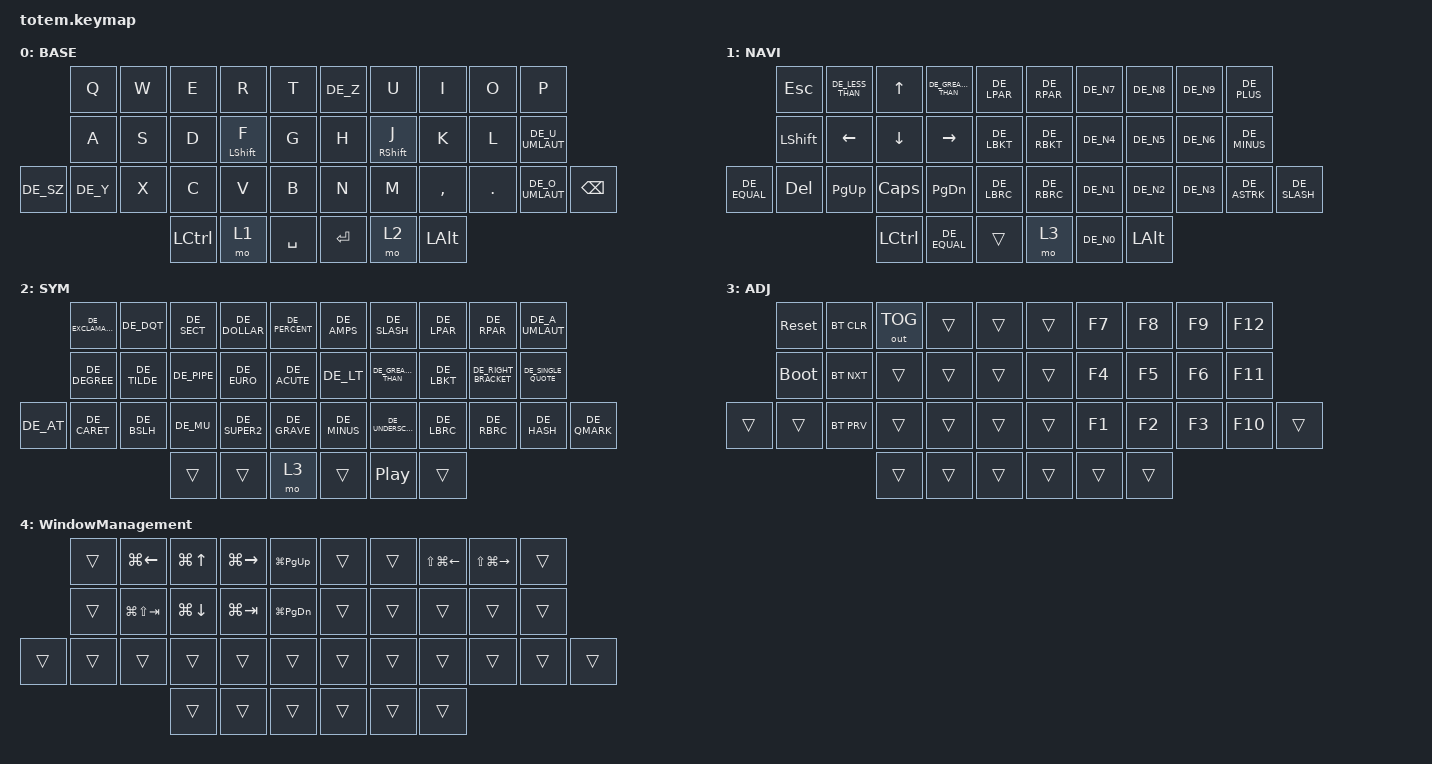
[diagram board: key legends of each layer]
//
//                                                        ▀▀▀▀▀     ▀▀▀▀▀          ▀▀█▀▀
//                                                        ▄▀▀▀▄  ▄  ▄▀▀▀▄  ▄  ▄▀▀▀▄  █  ▄▀▀▀▄
//                                                        █   █  █  █   █  █  █   █  █  █   █
//                                                         ▀▀▀   █   ▀▀▀   █   ▀▀▀   ▀   ▀▀▀
//                                                               █      ▄▄▄█▄▄▄    █   █  
//                                                               ▀      █  █  █     █▄█
//                                                             ▀▀▀▀▀    █  █  █      ▀
//                                                                      ▀  ▀  ▀
//
// ▄▄▄▄▄▄▄▄▄▄▄▄▄▄▄▄▄▄▄▄▄▄▄▄▄▄▄▄▄▄▄▄▄▄▄▄▄▄▄▄▄▄▄▄▄▄▄▄▄▄▄▄▄▄▄▄▄▄▄▄▄▄▄▄▄▄▄▄▄▄▄▄▄▄▄▄▄▄▄▄▄▄▄▄▄▄▄▄▄▄▄▄▄▄▄▄▄▄▄▄▄▄▄▄▄▄▄▄▄▄▄▄▄▄▄▄▄▄▄▄▄▄▄▄▄▄▄▄▄▄▄▄▄▄▄▄▄▄▄▄▄▄▄▄▄▄▄▄▄

#include <behaviors.dtsi>
#include <dt-bindings/zmk/bt.h>
#include <dt-bindings/zmk/keys.h>
#include <dt-bindings/zmk/outputs.h>
#include "keys_de.h"

#define BASE 0
#define NAV  1
#define SYM  2
#define ADJ  3
#define TVP1 4
#define TVP2 5

&mt {
    quick-tap-ms = <100>;
    global-quick-tap;
    flavor = "tap-preferred";
    tapping-term-ms = <170>;
};

/ {
    combos {
        compatible = "zmk,combos";

        combo_esc {
            timeout-ms = <50>;
            key-positions = <0 10>;
            bindings = <&kp ESC>;
        };

        combo_tab {
            bindings = <&kp TAB>;
            key-positions = <21 10>;
        };

        combo_windowManagement {
            bindings = <&mo 4>;
            key-positions = <33 36>;
        };
    };

    behaviors {
        hmr: hmr {
            compatible = "zmk,behavior-hold-tap";
            label = "HMR";
            bindings = <&kp>, <&kp>;

            #binding-cells = <2>;
            tapping-term-ms = <200>;
            quick-tap-ms = <175>;
            flavor = "tap-preferred";
            hold-trigger-key-positions = <0 1 2 3 4 10 11 12 13 14 20 21 22 23 24 25 32 33 34 35 36 37>;
            hold-trigger-on-release;
            require-prior-idle-ms = <150>;
        };

        hml: hml {
            compatible = "zmk,behavior-hold-tap";
            label = "HML";
            bindings = <&kp>, <&kp>;

            #binding-cells = <2>;
            tapping-term-ms = <200>;
            quick-tap-ms = <175>;
            flavor = "tap-preferred";
            hold-trigger-key-positions = <5 6 7 8 9 15 16 17 18 19 26 27 28 29 30 31 35 36 37 34 33 32>;
            hold-trigger-on-release;
            require-prior-idle-ms = <150>;
        };
    };

    keymap {
        compatible = "zmk,keymap";

        // ▄▄▄▄▄▄▄▄▄▄▄▄▄▄▄▄▄▄▄▄▄▄▄▄▄▄▄▄▄▄▄▄▄▄▄▄▄▄▄▄▄▄▄▄▄▄▄▄▄▄▄▄▄▄▄▄▄▄▄▄▄▄▄▄▄▄▄▄▄▄▄▄▄▄▄▄▄▄▄▄▄▄▄▄▄▄▄▄▄▄▄▄▄▄▄▄▄▄▄▄▄▄▄▄▄▄▄▄▄▄▄▄▄▄▄▄▄▄▄▄▄▄▄▄▄▄▄▄▄▄▄▄▄▄▄▄▄▄▄▄▄▄▄▄▄▄▄▄▄

        base_layer {
            // ┏━━━━━━━━━━━━━━━━━━━━━━━━━━━━━━━━━━━━━━━┓

            label = "BASE";

            // ┗━━━━━━━━━━━━━━━━━━━━━━━━━━━━━━━━━━━━━━━┛
            //             ┏━━━━━━━━━━━┳━━━━━━━━━━━┳━━━━━━━━━━━┳━━━━━━━━━━━┳━━━━━━━━━━━┓   ┏━━━━━━━━━━━┳━━━━━━━━━━━┳━━━━━━━━━━━┳━━━━━━━━━━━┳━━━━━━━━━━━┓
            //             ┃     Q     ┃     W     ┃     E     ┃     R     ┃     T     ┃   ┃     Z     ┃     U     ┃     I     ┃     O     ┃     P     ┃
            //             ┣━━━━━━━━━━━╋━━━━━━━━━━━╋━━━━━━━━━━━╋━━━━━━━━━━━╋━━━━━━━━━━━┫   ┣━━━━━━━━━━━╋━━━━━━━━━━━╋━━━━━━━━━━━╋━━━━━━━━━━━╋━━━━━━━━━━━┫
            //             ┃     A     ┃     S     ┃     D     ┃     F     ┃     G     ┃   ┃     H     ┃     J     ┃     K     ┃     L     ┃     Ö     ┃
            // ┏━━━━━━━━━━━╋━━━━━━━━━━━╋━━━━━━━━━━━╋━━━━━━━━━━━╋━━━━━━━━━━━╋━━━━━━━━━━━┫   ┣━━━━━━━━━━━╋━━━━━━━━━━━╋━━━━━━━━━━━╋━━━━━━━━━━━╋━━━━━━━━━━━╋━━━━━━━━━━━┓
            // ┃     Q     ┃     Y     ┃     X     ┃     C     ┃     V     ┃     B     ┃   ┃     N     ┃     M     ┃     ,     ┃     .     ┃     /     ┃     \     ┃
            // ┗━━━━━━━━━━━┻━━━━━━━━━━━┻━━━━━━━━━━━╋━━━━━━━━━━━╋━━━━━━━━━━━╋━━━━━━━━━━━┫   ┣━━━━━━━━━━━╋━━━━━━━━━━━╋━━━━━━━━━━━╋━━━━━━━━━━━┻━━━━━━━━━━━┻━━━━━━━━━━━┛
            //                                     ┃    DEL    ┃    TAB    ┃    SPC    ┃   ┃   ENTER   ┃           ┃   BSPC    ┃
            //                                     ┗━━━━━━━━━━━┻━━━━━━━━━━━┻━━━━━━━━━━━┛   ┗━━━━━━━━━━━┻━━━━━━━━━━━┻━━━━━━━━━━━┛

            bindings = <
           &kp Q     &kp W  &kp E      &kp R         &kp T        &kp DE_Z  &kp U         &kp I      &kp O    &kp P
           &kp A     &kp S  &kp D      &hml LSHFT F  &kp G        &kp H     &hmr RSHFT J  &kp K      &kp L    &kp DE_U_UMLAUT
&kp DE_SZ  &kp DE_Y  &kp X  &kp C      &kp V         &kp B        &kp N     &kp M         &kp COMMA  &kp DOT  &kp DE_O_UMLAUT  &kp BACKSPACE
                            &kp LCTRL  &mo 1         &kp SPACE    &kp RET   &mo 2         &kp LALT
            >;
        };

        // ▄▄▄▄▄▄▄▄▄▄▄▄▄▄▄▄▄▄▄▄▄▄▄▄▄▄▄▄▄▄▄▄▄▄▄▄▄▄▄▄▄▄▄▄▄▄▄▄▄▄▄▄▄▄▄▄▄▄▄▄▄▄▄▄▄▄▄▄▄▄▄▄▄▄▄▄▄▄▄▄▄▄▄▄▄▄▄▄▄▄▄▄▄▄▄▄▄▄▄▄▄▄▄▄▄▄▄▄▄▄▄▄▄▄▄▄▄▄▄▄▄▄▄▄▄▄▄▄▄▄▄▄▄▄▄▄▄▄▄▄▄▄▄▄▄▄▄▄▄

        nav_layer {
            // ┏━━━━━━━━━━━━━━━━━━━━━━━━━━━━━━━━━━━━━━━┓

            label = "NAVI";

            // ┗━━━━━━━━━━━━━━━━━━━━━━━━━━━━━━━━━━━━━━━┛
            //             ┏━━━━━━━━━━━┳━━━━━━━━━━━┳━━━━━━━━━━━┳━━━━━━━━━━━┳━━━━━━━━━━━┓   ┏━━━━━━━━━━━┳━━━━━━━━━━━┳━━━━━━━━━━━┳━━━━━━━━━━━┳━━━━━━━━━━━┓
            //             ┃           ┃           ┃     UP    ┃           ┃     {     ┃   ┃     }     ┃     7     ┃     8     ┃     9     ┃     +     ┃
            //             ┣━━━━━━━━━━━╋━━━━━━━━━━━╋━━━━━━━━━━━╋━━━━━━━━━━━╋━━━━━━━━━━━┫   ┣━━━━━━━━━━━╋━━━━━━━━━━━╋━━━━━━━━━━━╋━━━━━━━━━━━╋━━━━━━━━━━━┫
            //             ┃   SHIFT   ┃   LEFT    ┃    DOWN   ┃   RIGHT   ┃     [     ┃   ┃     ]     ┃     4     ┃     5     ┃     6     ┃     -     ┃
            // ┏━━━━━━━━━━━╋━━━━━━━━━━━╋━━━━━━━━━━━╋━━━━━━━━━━━╋━━━━━━━━━━━╋━━━━━━━━━━━┫   ┣━━━━━━━━━━━╋━━━━━━━━━━━╋━━━━━━━━━━━╋━━━━━━━━━━━╋━━━━━━━━━━━╋━━━━━━━━━━━┓
            // ┃           ┃           ┃   P UP    ┃  C LOCK   ┃  P DOWN   ┃     (     ┃   ┃     )     ┃     1     ┃     2     ┃     3     ┃     *     ┃           ┃
            // ┗━━━━━━━━━━━┻━━━━━━━━━━━┻━━━━━━━━━━━╋━━━━━━━━━━━╋━━━━━━━━━━━╋━━━━━━━━━━━┫   ┣━━━━━━━━━━━╋━━━━━━━━━━━╋━━━━━━━━━━━╋━━━━━━━━━━━┻━━━━━━━━━━━┻━━━━━━━━━━━┛
            //                                     ┃           ┃    TAB    ┃    SPC    ┃   ┃    DEL    ┃     0     ┃           ┃
            //                                     ┗━━━━━━━━━━━┻━━━━━━━━━━━┻━━━━━━━━━━━┛   ┗━━━━━━━━━━━┻━━━━━━━━━━━┻━━━━━━━━━━━┛

            bindings = <
              &kp ESC    &kp DE_LESS_THAN  &kp UP     &kp DE_GREATER_THAN  &kp DE_LPAR    &kp DE_RPAR  &kp DE_N7  &kp DE_N8     &kp DE_N9  &kp DE_PLUS
              &kp LSHFT  &kp LEFT          &kp DOWN   &kp RIGHT            &kp DE_LBKT    &kp DE_RBKT  &kp DE_N4  &kp DE_N5     &kp DE_N6  &kp DE_MINUS
&kp DE_EQUAL  &kp DEL    &kp PG_UP         &kp CAPS   &kp PG_DN            &kp DE_LBRC    &kp DE_RBRC  &kp DE_N1  &kp DE_N2     &kp DE_N3  &kp DE_ASTRK  &kp DE_SLASH
                                           &kp LCTRL  &kp DE_EQUAL         &trans         &mo 3        &kp DE_N0  &kp LEFT_ALT
            >;
        };

        // ▄▄▄▄▄▄▄▄▄▄▄▄▄▄▄▄▄▄▄▄▄▄▄▄▄▄▄▄▄▄▄▄▄▄▄▄▄▄▄▄▄▄▄▄▄▄▄▄▄▄▄▄▄▄▄▄▄▄▄▄▄▄▄▄▄▄▄▄▄▄▄▄▄▄▄▄▄▄▄▄▄▄▄▄▄▄▄▄▄▄▄▄▄▄▄▄▄▄▄▄▄▄▄▄▄▄▄▄▄▄▄▄▄▄▄▄▄▄▄▄▄▄▄▄▄▄▄▄▄▄▄▄▄▄▄▄▄▄▄▄▄▄▄▄▄▄▄▄▄

        sim_layer {
            // ┏━━━━━━━━━━━━━━━━━━━━━━━━━━━━━━━━━━━━━━━┓

            label = "SYM";

            // ┗━━━━━━━━━━━━━━━━━━━━━━━━━━━━━━━━━━━━━━━┛
            //             ┏━━━━━━━━━━━┳━━━━━━━━━━━┳━━━━━━━━━━━┳━━━━━━━━━━━┳━━━━━━━━━━━┓   ┏━━━━━━━━━━━┳━━━━━━━━━━━┳━━━━━━━━━━━┳━━━━━━━━━━━┳━━━━━━━━━━━┓
            //             ┃     !     ┃     @     ┃     #     ┃     $     ┃     %     ┃   ┃     ˆ     ┃     &     ┃     Ü     ┃     '     ┃     "     ┃
            //             ┣━━━━━━━━━━━╋━━━━━━━━━━━╋━━━━━━━━━━━╋━━━━━━━━━━━╋━━━━━━━━━━━┫   ┣━━━━━━━━━━━╋━━━━━━━━━━━╋━━━━━━━━━━━╋━━━━━━━━━━━╋━━━━━━━━━━━┫
            //             ┃     Ä     ┃           ┃    SZ     ┃           ┃           ┃   ┃   MUTE    ┃   YEN     ┃   EURO    ┃  POUND    ┃     Ö     ┃
            // ┏━━━━━━━━━━━╋━━━━━━━━━━━╋━━━━━━━━━━━╋━━━━━━━━━━━╋━━━━━━━━━━━╋━━━━━━━━━━━┫   ┣━━━━━━━━━━━╋━━━━━━━━━━━╋━━━━━━━━━━━╋━━━━━━━━━━━╋━━━━━━━━━━━╋━━━━━━━━━━━┓
            // ┃           ┃  EMAIL1   ┃  EMAIL2   ┃           ┃           ┃           ┃   ┃   VOL-    ┃   VOL+    ┃   LAST    ┃   NEXT    ┃     \     ┃           ┃
            // ┗━━━━━━━━━━━┻━━━━━━━━━━━┻━━━━━━━━━━━╋━━━━━━━━━━━╋━━━━━━━━━━━╋━━━━━━━━━━━┫   ┣━━━━━━━━━━━╋━━━━━━━━━━━╋━━━━━━━━━━━╋━━━━━━━━━━━┻━━━━━━━━━━━┻━━━━━━━━━━━┛
            //                                     ┃           ┃    GIF    ┃    ADJ    ┃   ┃           ┃           ┃           ┃
            //                                     ┗━━━━━━━━━━━┻━━━━━━━━━━━┻━━━━━━━━━━━┛   ┗━━━━━━━━━━━┻━━━━━━━━━━━┻━━━━━━━━━━━┛

            bindings = <
           &kp DE_EXCLAMATION  &kp DE_DQT    &kp DE_SECT  &kp DE_DOLLAR  &kp DE_PERCENT    &kp DE_AMPS   &kp DE_SLASH         &kp DE_LPAR  &kp DE_RPAR           &kp DE_A_UMLAUT
           &kp DE_DEGREE       &kp DE_TILDE  &kp DE_PIPE  &kp DE_EURO    &kp DE_ACUTE      &kp DE_LT     &kp DE_GREATER_THAN  &kp DE_LBKT  &kp DE_RIGHT_BRACKET  &kp DE_SINGLE_QUOTE
&kp DE_AT  &kp DE_CARET        &kp DE_BSLH   &kp DE_MU    &kp DE_SUPER2  &kp DE_GRAVE      &kp DE_MINUS  &kp DE_UNDERSCORE    &kp DE_LBRC  &kp DE_RBRC           &kp DE_HASH          &kp DE_QMARK
                                             &trans       &trans         &mo 3             &trans        &kp C_PP             &trans
            >;
        };

        // ▄▄▄▄▄▄▄▄▄▄▄▄▄▄▄▄▄▄▄▄▄▄▄▄▄▄▄▄▄▄▄▄▄▄▄▄▄▄▄▄▄▄▄▄▄▄▄▄▄▄▄▄▄▄▄▄▄▄▄▄▄▄▄▄▄▄▄▄▄▄▄▄▄▄▄▄▄▄▄▄▄▄▄▄▄▄▄▄▄▄▄▄▄▄▄▄▄▄▄▄▄▄▄▄▄▄▄▄▄▄▄▄▄▄▄▄▄▄▄▄▄▄▄▄▄▄▄▄▄▄▄▄▄▄▄▄▄▄▄▄▄▄▄▄▄▄▄▄▄

        adjust_layer {
            // ┏━━━━━━━━━━━━━━━━━━━━━━━━━━━━━━━━━━━━━━━┓

            label = "ADJ";

            // ┗━━━━━━━━━━━━━━━━━━━━━━━━━━━━━━━━━━━━━━━┛
            //             ┏━━━━━━━━━━━┳━━━━━━━━━━━┳━━━━━━━━━━━┳━━━━━━━━━━━┳━━━━━━━━━━━┓   ┏━━━━━━━━━━━┳━━━━━━━━━━━┳━━━━━━━━━━━┳━━━━━━━━━━━┳━━━━━━━━━━━┓
            //             ┃   RESET   ┃ BT CLEAR  ┃  OUT TOG  ┃           ┃           ┃   ┃           ┃    F7     ┃    F8     ┃    F9     ┃    F12    ┃
            //             ┣━━━━━━━━━━━╋━━━━━━━━━━━╋━━━━━━━━━━━╋━━━━━━━━━━━╋━━━━━━━━━━━┫   ┣━━━━━━━━━━━╋━━━━━━━━━━━╋━━━━━━━━━━━╋━━━━━━━━━━━╋━━━━━━━━━━━┫
            //             ┃ BOOTLOAD  ┃ BT NEXT   ┃           ┃           ┃           ┃   ┃           ┃    F4     ┃    F5     ┃    F6     ┃    F11    ┃
            // ┏━━━━━━━━━━━╋━━━━━━━━━━━╋━━━━━━━━━━━╋━━━━━━━━━━━╋━━━━━━━━━━━╋━━━━━━━━━━━┫   ┣━━━━━━━━━━━╋━━━━━━━━━━━╋━━━━━━━━━━━╋━━━━━━━━━━━╋━━━━━━━━━━━╋━━━━━━━━━━━┓
            // ┃           ┃           ┃ BT PREV   ┃           ┃           ┃           ┃   ┃           ┃    F1     ┃    F2     ┃    F3     ┃    F10    ┃           ┃
            // ┗━━━━━━━━━━━┻━━━━━━━━━━━┻━━━━━━━━━━━╋━━━━━━━━━━━╋━━━━━━━━━━━╋━━━━━━━━━━━┫   ┣━━━━━━━━━━━╋━━━━━━━━━━━╋━━━━━━━━━━━╋━━━━━━━━━━━┻━━━━━━━━━━━┻━━━━━━━━━━━┛
            //                                     ┃           ┃           ┃           ┃   ┃           ┃           ┃           ┃
            //                                     ┗━━━━━━━━━━━┻━━━━━━━━━━━┻━━━━━━━━━━━┛   ┗━━━━━━━━━━━┻━━━━━━━━━━━┻━━━━━━━━━━━┛

            bindings = <
        &sys_reset   &bt BT_CLR  &out OUT_TOG  &trans  &trans    &trans  &kp F7  &kp F8  &kp F9  &kp F12
        &bootloader  &bt BT_NXT  &trans        &trans  &trans    &trans  &kp F4  &kp F5  &kp F6  &kp F11
&trans  &trans       &bt BT_PRV  &trans        &trans  &trans    &trans  &kp F1  &kp F2  &kp F3  &kp F10  &trans
                                 &trans        &trans  &trans    &trans  &trans  &trans
            >;
        };

        WindowManagement {
            bindings = <
        &trans  &kp LG(LEFT_ARROW)  &kp LG(UP)    &kp LG(RIGHT)  &kp LG(PG_UP)    &trans  &trans  &kp LS(LG(LEFT))  &kp LS(LG(RIGHT))  &trans
        &trans  &kp LG(LS(TAB))     &kp LG(DOWN)  &kp LG(TAB)    &kp LG(PG_DN)    &trans  &trans  &trans            &trans             &trans
&trans  &trans  &trans              &trans        &trans         &trans           &trans  &trans  &trans            &trans             &trans  &trans
                                    &trans        &trans         &trans           &trans  &trans  &trans
            >;
        };

        // ▄▄▄▄▄▄▄▄▄▄▄▄▄▄▄▄▄▄▄▄▄▄▄▄▄▄▄▄▄▄▄▄▄▄▄▄▄▄▄▄▄▄▄▄▄▄▄▄▄▄▄▄▄▄▄▄▄▄▄▄▄▄▄▄▄▄▄▄▄▄▄▄▄▄▄▄▄▄▄▄▄▄▄▄▄▄▄▄▄▄▄▄▄▄▄▄▄▄▄▄▄▄▄▄▄▄▄▄▄▄▄▄▄▄▄▄▄▄▄▄▄▄▄▄▄▄▄▄▄▄▄▄▄▄▄▄▄▄▄▄▄▄▄▄▄▄▄▄▄
        // ▄▄▄▄▄▄▄▄▄▄▄▄▄▄▄▄▄▄▄▄▄▄▄▄▄▄▄▄▄▄▄▄▄▄▄▄▄▄▄▄▄▄▄▄▄▄▄▄▄▄▄▄▄▄▄▄▄▄▄▄▄▄▄▄▄▄▄▄▄▄▄▄▄▄▄▄▄▄▄▄▄▄▄▄▄▄▄▄▄▄▄▄▄▄▄▄▄▄▄▄▄▄▄▄▄▄▄▄▄▄▄▄▄▄▄▄▄▄▄▄▄▄▄▄▄▄▄▄▄▄▄▄▄▄▄▄▄▄▄▄▄▄▄▄▄▄▄▄▄
    };
};
